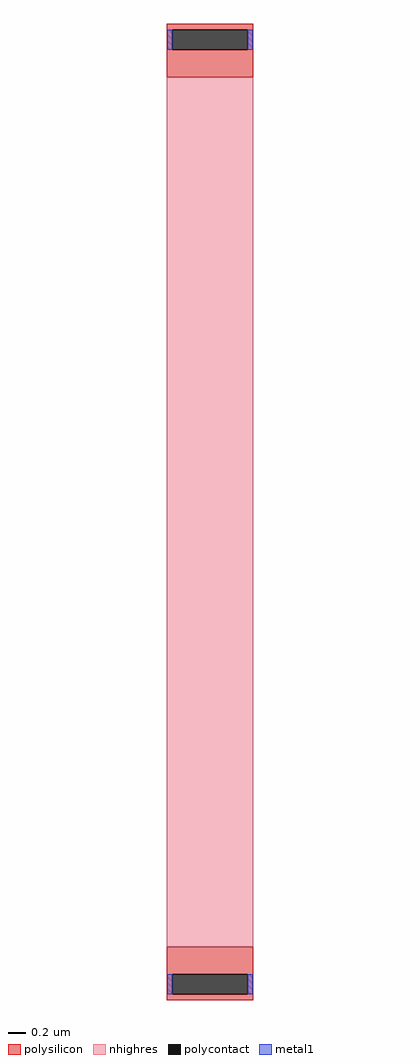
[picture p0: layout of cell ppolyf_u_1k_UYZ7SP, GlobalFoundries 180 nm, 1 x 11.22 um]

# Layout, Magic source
magic
tech gf180mcuD
magscale 1 10
<< polysilicon >>
rect -100 1109 100 1122
rect -100 1063 -87 1109
rect 87 1063 100 1109
rect -100 1000 100 1063
rect -100 -1063 100 -1000
rect -100 -1109 -87 -1063
rect 87 -1109 100 -1063
rect -100 -1122 100 -1109
<< polycontact >>
rect -87 1063 87 1109
rect -87 -1109 87 -1063
<< nhighres >>
rect -100 -1000 100 1000
<< metal1 >>
rect -98 1063 -87 1109
rect 87 1063 98 1109
rect -98 -1109 -87 -1063
rect 87 -1109 98 -1063
<< properties >>
string gencell ppolyf_u_1k
string library gf180mcu
string parameters w 1.0 l 10.0 m 1 nx 1 wmin 1.000 lmin 1.000 class resistor rho 1000 val 10.305k dummy 0 dw 0.0296 term 0.0 sterm 0.0 caplen 0.4 snake 0 glc 0 grc 0 gtc 0 gbc 0 roverlap 0 endcov 100 full_metal 0 guard 0 guard_type pwell compatible {ppolyf_u_1k ppolyf_u_1k_6p0}
<< end >>
